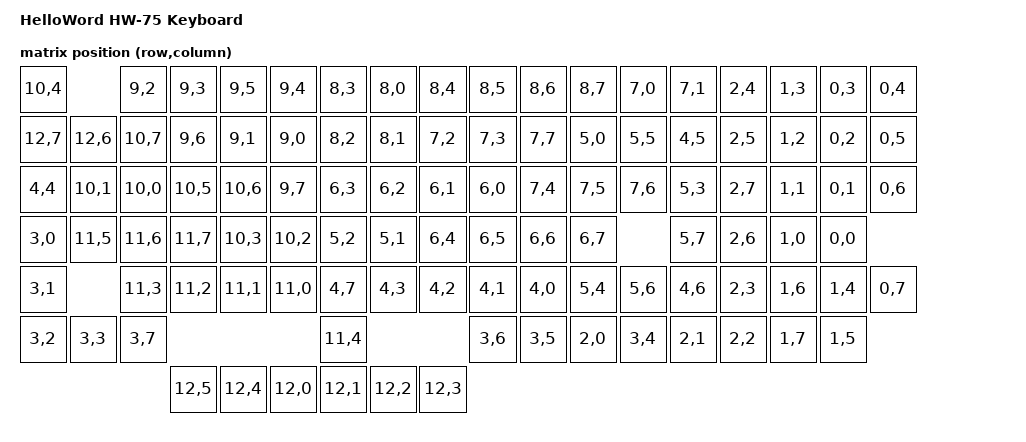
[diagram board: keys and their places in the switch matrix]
/*
 * Copyright (c) 2022-2023 XiNGRZ
 * SPDX-License-Identifier: MIT
 */

/dts-v1/;
#include <st/f1/stm32f103Xb.dtsi>
#include <st/f1/stm32f103c(8-b)tx-pinctrl.dtsi>
#include <dt-bindings/led/led.h>
#include <dt-bindings/zmk/matrix_transform.h>

/ {
	model = "HelloWord HW-75 Keyboard";
	compatible = "st,stm32f103";

	chosen {
		zephyr,code-partition = &code_partition;
		zephyr,sram = &sram0;
		zephyr,flash = &flash0;
		zmk,kscan = &kscan;
		zmk,matrix_transform = &default_transform;
		zmk,underglow = &led_strip;
	};

	aliases {
		uart-comm = &slip;
	};

	default_transform: keymap_transform {
		compatible = "zmk,matrix-transform";
		rows = <13>;
		columns = <8>;
		map = <
			RC(10, 4)            RC(9, 2)    RC(9, 3)   RC(9, 5)   RC(9, 4)  RC(8, 3) RC(8, 0) RC(8, 4) RC(8, 5) RC(8, 6) RC(8, 7) RC(7, 0) RC(7, 1) RC(2, 4) RC(1, 3) RC(0, 3) RC(0, 4)
			RC(12,7)  RC(12,6)   RC(10, 7)   RC(9, 6)   RC(9, 1)   RC(9, 0)  RC(8, 2) RC(8, 1) RC(7, 2) RC(7, 3) RC(7, 7) RC(5, 0) RC(5, 5) RC(4, 5) RC(2, 5) RC(1, 2) RC(0, 2) RC(0, 5)
			RC(4, 4)  RC(10, 1)  RC(10, 0)   RC(10, 5)  RC(10, 6)  RC(9, 7)  RC(6, 3) RC(6, 2) RC(6, 1) RC(6, 0) RC(7, 4) RC(7, 5) RC(7, 6) RC(5, 3) RC(2, 7) RC(1, 1) RC(0, 1) RC(0, 6)
			RC(3, 0)  RC(11, 5)  RC(11, 6)   RC(11, 7)  RC(10, 3)  RC(10, 2) RC(5, 2) RC(5, 1) RC(6, 4) RC(6, 5) RC(6, 6) RC(6, 7)          RC(5, 7) RC(2, 6) RC(1, 0) RC(0, 0) 
			RC(3, 1)             RC(11, 3)   RC(11, 2)  RC(11, 1)  RC(11, 0) RC(4, 7) RC(4, 3) RC(4, 2) RC(4, 1) RC(4, 0) RC(5, 4) RC(5, 6) RC(4, 6) RC(2, 3) RC(1, 6) RC(1, 4) RC(0, 7)
			RC(3, 2)  RC(3, 3)   RC(3, 7)                                    RC(11, 4)                  RC(3, 6) RC(3, 5) RC(2, 0) RC(3, 4) RC(2, 1) RC(2, 2) RC(1, 7) RC(1, 5) 
			                                    RC(12,5) RC(12,4) RC(12,0) RC(12,1) RC(12,2) RC(12,3)
		>;
	};

	led_strip: led-strip-remap {
		compatible = "zmk,led-strip-remap";

		chain-length = <121>;
		led-strip = <&ws2812>;
		map = <
			/* hub */
			 98  99 100 101 102 103 104 105 106 107 108 109 110 111 112 113 114 115 116 117 118
			/* keys */
			 16      15  14  13  12  11  10   9   8   7   6   5   4   3   2   1   0  
			 17  18  19  20  21  22  23  24  25  26  27  28  29  30  31  32  33  34
			 52  51  50  49  48  47  46  45  44  43  42  41  40  39  38  37  36  35
			 53  54  55  56  57  58  59  60  61  62  63  64      65  66  67  68  
			 85      84  83  82  81  80  79  78  77  76  75  74  73  72  71  70  69
			 86  87  88              89          90  91  92  93  94  95  96  97
			/* status (top/mid/bottom) */
			 119 120 121
		>;

		/*status {
			label = "STATUS";
			led-indexes = <119 120 121>;
		};*/
	};

	slip: slip {
		compatible = "zmk,uart-slip";
		uart = <&usart1>;
	};
};

&clk_hse {
	clock-frequency = <DT_FREQ_M(8)>;
	status = "okay";
};

&pll {
	mul = <6>;
	clocks = <&clk_hse>;
	status = "okay";
};

&rcc {
	clocks = <&pll>;
	clock-frequency = <DT_FREQ_M(48)>;
	ahb-prescaler = <1>;
	apb1-prescaler = <2>;
	apb2-prescaler = <1>;
};

&pinctrl {
	swj-cfg = "jtag-disable";
};

&usb {
	pinctrl-0 = <&usb_dm_pa11 &usb_dp_pa12>;
	pinctrl-names = "default";
	status = "okay";
};

&usart1 {
	current-speed = <115200>;
	pinctrl-0 = <&usart1_tx_pa9>;
	pinctrl-names = "default";
	status = "okay";
};

&spi1 {
	pinctrl-0 = <&spi1_sck_master_pa5 &spi1_miso_master_pa6>;
	pinctrl-names = "default";
	status = "okay";

	cs-gpios = <&gpiob 3 GPIO_ACTIVE_LOW>;

	kscan: kscan-gpio-74hc165@0 {
		compatible = "zmk,kscan-gpio-74hc165";
		reg = <0>;
		spi-max-frequency = <1000000>;
		chain-length = <13>;
		scan-masks = [FF FF FF FF FF FF FF FF FF FF FF FF FF];
		parallel-load-gpios = <&gpiob 4 GPIO_ACTIVE_LOW>;
	};
};

&spi2 {
	pinctrl-0 = <&spi2_mosi_master_pb15>;
	pinctrl-names = "default";
	status = "okay";

	ws2812: ws2812@0 {
		compatible = "worldsemi,ws2812-spi";

		reg = <0>;
		spi-max-frequency = <4000000>;

		chain-length = <119>;
		spi-one-frame = <0x70>;
		spi-zero-frame = <0x40>;
		color-mapping = <LED_COLOR_ID_GREEN LED_COLOR_ID_RED LED_COLOR_ID_BLUE>;
	};
};

&flash0 {
	partitions {
		compatible = "fixed-partitions";
		#address-cells = <1>;
		#size-cells = <1>;

		bootloader_partition: partition@0 {
			label = "bootloader";
			reg = <0x00000000 DT_SIZE_K(16)>;
		};

		code_partition: partition@4000 {
			label = "code_partition";
			reg = <0x00004000 DT_SIZE_K(104)>;
		};

		storage_partition: partition@1e000 {
			label = "storage";
			reg = <0x0001e000 DT_SIZE_K(8)>;
		};
	};
};
